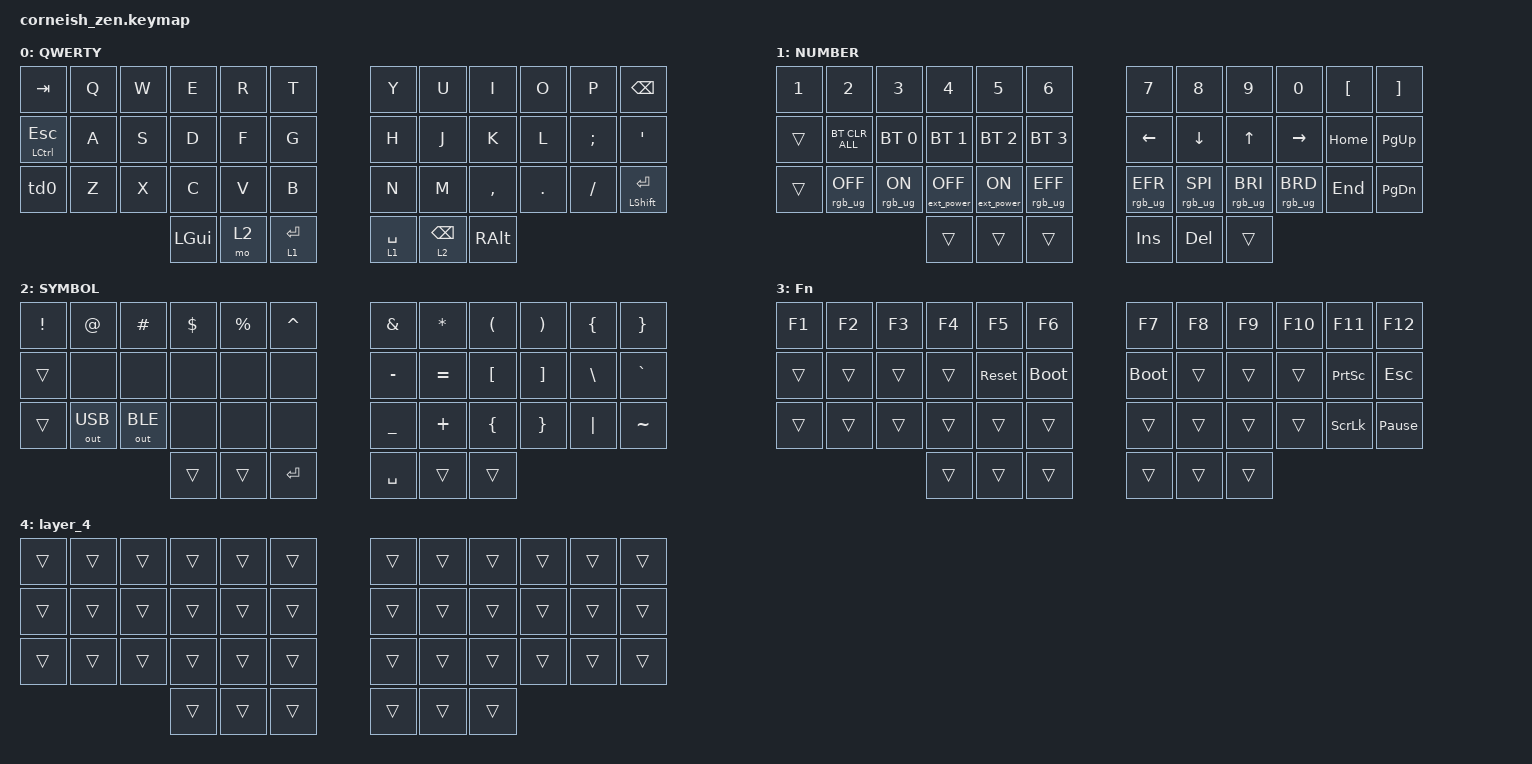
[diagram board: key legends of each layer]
/*
 * Copyright (c) 2020 The ZMK Contributors
 *
 * SPDX-License-Identifier: MIT
 */

#include <behaviors.dtsi>
#include <dt-bindings/zmk/bt.h>
#include <dt-bindings/zmk/ext_power.h>
#include <dt-bindings/zmk/keys.h>
#include <dt-bindings/zmk/outputs.h>
#include <dt-bindings/zmk/rgb.h>

&sk {
};

&lt { tapping-term-ms = <300>; };

/ {
    chosen {
        zmk,matrix_transform = &default_transform;

        // zmk,matrix_transform = &five_column_transform;
    };
};

/ {
    behaviors {
        td0: td0 {
            compatible = "zmk,behavior-tap-dance";
            label = "TD0";
            #binding-cells = <0>;
            bindings = <&kp LEFT_SHIFT>, <&kp CAPS>;

            tapping-term-ms = <300>;
        };

        as_ht: autoshift_hold_tap {
            compatible = "zmk,behavior-hold-tap";
            label = "AUTOSHIFT_HOLD_TAP";
            bindings = <&shift>, <&kp>;

            #binding-cells = <2>;
            tapping-term-ms = <300>;
        };

        hml: homerow_mods_left {
            compatible = "zmk,behavior-hold-tap";
            label = "HOMEROW_MODS_LEFT";
            bindings = <&kp>, <&kp>;

            #binding-cells = <2>;
            tapping-term-ms = <300>;
            hold-trigger-key-positions = <19 30 39 40 41 31 32 34 35 33 18 20 21 22 23 11 10 9 8 7 6>;
        };

        hmr: homerow_mods_right {
            compatible = "zmk,behavior-hold-tap";
            label = "HOMEROW_MODS_RIGHT";
            bindings = <&kp>, <&kp>;

            #binding-cells = <2>;
            tapping-term-ms = <300>;
            hold-trigger-key-positions = <0 12 24 25 13 1 2 3 5 4 17 16 15 14 26 27 28 29 37 38 36>;
        };
    };

    combos {
        compatible = "zmk,combos";

        tab {
            bindings = <&kp TAB>;
            key-positions = <3 2>;
        };

        ctrl {
            bindings = <&kp LCTRL>;
            key-positions = <26 27>;
        };

        cmd {
            bindings = <&kp LEFT_GUI>;
            key-positions = <38 37>;
        };

        alt {
            bindings = <&kp LALT>;
            key-positions = <39 40>;
        };

        shift {
            bindings = <&kp LSHIFT>;
            key-positions = <8 9>;
        };

        caps_word {
            bindings = <&caps_word>;
            key-positions = <17 18>;
        };

        delete {
            bindings = <&lctrl_plus_backspace>;
            key-positions = <32 33>;
        };
    };

    macros {
        shift: with_lshift {
            compatible = "zmk,behavior-macro-one-param";
            #binding-cells = <1>;
            label = "KEY_PRESS_WITH_LEFT_SHIFT_MODIFIER";
            bindings =
                <&macro_press>,
                <&kp LSHFT>,
                <&macro_tap>,
                <&macro_param_1to1 &kp MACRO_PLACEHOLDER>,
                <&macro_release>,
                <&kp LSHFT>;
        };

        lctrl_plus_backspace: new_macro {
            compatible = "zmk,behavior-macro";
            #binding-cells = <0>;
            bindings =
                <&macro_press>,
                <&kp LCTRL>,
                <&macro_tap>,
                <&kp BACKSPACE>,
                <&macro_release>,
                <&kp LCTRL>;

            label = "NEW_MACRO";
        };
    };

    keymap {
        compatible = "zmk,keymap";

        default_layer {
            display-name = "QWERTY";

            // --------------------------------------------------------------------------------
            // |  TAB |  Q  |  W  |  E  |  R  |  T  |   |  Y  |  U   |  I  |  O  |  P  | BKSP |
            // | CTRL |  A  |  S  |  D  |  F  |  G  |   |  H  |  J   |  K  |  L  |  ;  |  '   | 
            // | SHFT |  Z  |  X  |  C  |  V  |  B  |   |  N  |  M   |  ,  |  .  |  /  | ESC  |
            //                    | GUI | LWR | SPC |   | ENT | RSE  | ALT |

            bindings = <
&kp TAB        &kp Q  &kp W  &kp E     &kp R  &kp T           &kp Y        &kp U            &kp I      &kp O    &kp P     &kp BSPC
&mt LCTRL ESC  &kp A  &kp S  &kp D     &kp F  &kp G           &kp H        &kp J            &kp K      &kp L    &kp SEMI  &kp SQT
&td0           &kp Z  &kp X  &kp C     &kp V  &kp B           &kp N        &kp M            &kp COMMA  &kp DOT  &kp FSLH  &mt LSHIFT ENTER
                             &kp LGUI  &mo 2  &lt 1 RETURN    &lt 1 SPACE  &lt 2 BACKSPACE  &kp RALT
            >;
        };

        lower_layer {
            display-name = "NUMBER";

            // -----------------------------------------------------------------------------------------
            // |  TAB |  1  |  2  |  3  |  4  |  5  |   |  6  |  7  |  8  |  9  |  0  | BKSP |
            // | BTCLR| BT1 | BT2 | BT3 | BT4 | BT5 |   | LFT | DWN |  UP | RGT |     |      |
            // | SHFT |     |     |     |     |     |   |     |     |     |     |     |      |
            //                    | GUI |     | SPC |   | ENT |     | ALT |

            bindings = <
&kp NUMBER_1  &kp NUMBER_2     &kp NUMBER_3    &kp NUMBER_4       &kp N5            &kp NUMBER_6       &kp N7           &kp N8           &kp N9           &kp N0           &kp LBKT  &kp RBKT
&trans        &bt BT_CLR_ALL   &bt BT_SEL 0    &bt BT_SEL 1       &bt BT_SEL 2      &bt BT_SEL 3       &kp LEFT         &kp DOWN         &kp UP           &kp RIGHT        &kp HOME  &kp PG_UP
&trans        &rgb_ug RGB_OFF  &rgb_ug RGB_ON  &ext_power EP_OFF  &ext_power EP_ON  &rgb_ug RGB_EFF    &rgb_ug RGB_EFR  &rgb_ug RGB_SPI  &rgb_ug RGB_BRI  &rgb_ug RGB_BRD  &kp END   &kp PG_DN
                                               &trans             &trans            &trans             &kp INS          &kp DEL          &trans
            >;
        };

        raise_layer {
            display-name = "SYMBOL";

            // -----------------------------------------------------------------------------------------
            // |  TAB |  !  |  @  |  #  |  $  |  %  |   |  ^  |  &  |  *  |  (  |  )  | BKSP |
            // | CTRL |     |     |     |     |     |   |  -  |  =  |  [  |  ]  |  \  |  `   |
            // | SHFT |     |     |     |     |     |   |  _  |  +  |  {  |  }  | "|" |  ~   |
            //                    | GUI |     | SPC |   | ENT |     | ALT |

            bindings = <
&kp EXCL  &kp AT        &kp HASH      &kp DLLR  &kp PRCNT  &kp CARET     &kp AMPS   &kp ASTERISK  &kp LPAR  &kp RPAR  &kp LBRC  &kp RBRC
&trans    &none         &none         &none     &none      &none         &kp MINUS  &kp EQUAL     &kp LBKT  &kp RBKT  &kp BSLH  &kp GRAVE
&trans    &out OUT_USB  &out OUT_BLE  &none     &none      &none         &kp UNDER  &kp PLUS      &kp LBRC  &kp RBRC  &kp PIPE  &kp TILDE
                                      &trans    &trans     &kp RETURN    &kp SPACE  &trans        &trans
            >;
        };

        layer_3 {
            display-name = "Fn";
            bindings = <
&kp F1  &kp F2  &kp F3  &kp F4  &kp F5      &kp F6         &kp F7       &kp F8  &kp F9  &kp F10  &kp F11          &kp F12
&trans  &trans  &trans  &trans  &sys_reset  &bootloader    &bootloader  &trans  &trans  &trans   &kp PRINTSCREEN  &kp ESC
&trans  &trans  &trans  &trans  &trans      &trans         &trans       &trans  &trans  &trans   &kp SCROLLLOCK   &kp PAUSE_BREAK
                        &trans  &trans      &trans         &trans       &trans  &trans
            >;
        };

        layer_4 {
            bindings = <
&trans  &trans  &trans  &trans  &trans  &trans    &trans  &trans  &trans  &trans  &trans  &trans
&trans  &trans  &trans  &trans  &trans  &trans    &trans  &trans  &trans  &trans  &trans  &trans
&trans  &trans  &trans  &trans  &trans  &trans    &trans  &trans  &trans  &trans  &trans  &trans
                        &trans  &trans  &trans    &trans  &trans  &trans
            >;
        };
    };
};
